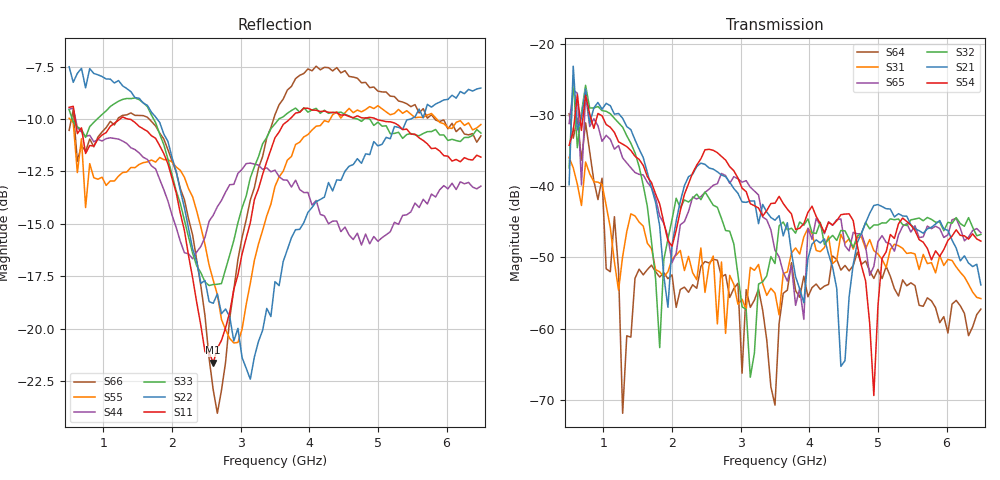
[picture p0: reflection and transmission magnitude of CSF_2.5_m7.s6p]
!Keysight Technologies,M9804A,MY58100912,A.14.10.03
!Date: Thursday, April 27, 2023 10:28:33
!Correction: S11(C  6-Port  )
!S12(C  6-Port  )
!S13(C  6-Port  )
!S14(C  6-Port  )
!S15(C  6-Port  )
!S16(C  6-Port  )
!S21(C  6-Port  )
!S22(C  6-Port  )
!S23(C  6-Port  )
!S24(C  6-Port  )
!S25(C  6-Port  )
!S26(C  6-Port  )
!S31(C  6-Port  )
!S32(C  6-Port  )
!S33(C  6-Port  )
!S34(C  6-Port  )
!S35(C  6-Port  )
!S36(C  6-Port  )
!S41(C  6-Port  )
!S42(C  6-Port  )
!S43(C  6-Port  )
!S44(C  6-Port  )
!S45(C  6-Port  )
!S46(C  6-Port  )
!S51(C  6-Port  )
!S52(C  6-Port  )
!S53(C  6-Port  )
!S54(C  6-Port  )
!S55(C  6-Port  )
!S56(C  6-Port  )
!S61(C  6-Port  )
!S62(C  6-Port  )
!S63(C  6-Port  )
!S64(C  6-Port  )
!S65(C  6-Port  )
!S66(C  6-Port  )
!S6P File: Measurement: :
# Hz S  RI  R 50
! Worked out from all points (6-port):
!   101 points, 500 MHz to 6.5 GHz, reference 50 ohm
!   strongest paths, dB at 500 MHz, 2 GHz, 3.5 GHz, 5 GHz, 6.5 GHz:
!     S54: -34.3, -48.4, -42.4, -56.8, -47.7
!     S21: -39.8, -48.3, -44.8, -42.6, -53.9
!     S32: -37.4, -44.7, -50.9, -45.4, -46.8
!     S65: -31.2, -50.7, -49.0, -47.8, -46.5
!     S31: -36.0, -50.2, -55.0, -49.5, -55.8
!     S64: -29.8, -52.4, -70.7, -51.7, -57.3
!   lowest |S11| = -21.6 dB at 2.6 GHz (marker M1), VSWR 1.18, Z = 42.6 + j1.99 ohm
!   |S11| at or under -10 dB: 587.9 MHz to 1.243 GHz (654.7 MHz wide, 71.5 % of centre); 1.36 GHz to 3.716 GHz (2.356 GHz wide, 92.9 % of centre); 4.971 GHz to end of sweep
